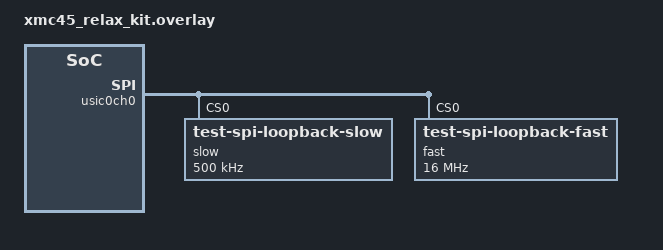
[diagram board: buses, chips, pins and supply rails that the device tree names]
/*
 * Copyright (c) 2022 Schlumberger
 *
 * SPDX-License-Identifier: Apache-2.0
 */

#include <zephyr/dt-bindings/dma/infineon-xmc4xxx-dma.h>

&spi_mosi_p1_5_u0c0 {
	drive-strength = "strong-soft-edge";
	hwctrl = "disabled";
};

&spi_miso_p1_4_u0c0 {
	drive-strength = "strong-soft-edge";
	hwctrl = "disabled";
};

&spi_sclk_p0_8_u0c0 {
	drive-strength = "strong-soft-edge";
	hwctrl = "disabled";
};

&usic0ch0 {
	compatible = "infineon,xmc4xxx-spi";
	pinctrl-0 = <&spi_mosi_p1_5_u0c0 &spi_miso_p1_4_u0c0 &spi_sclk_p0_8_u0c0>;
	pinctrl-names = "default";
	miso-src = "DX0B";
	interrupts = <84 1 85 1>;
	interrupt-names = "tx", "rx";
	dmas = <&dma0 1 0 XMC4XXX_SET_CONFIG(0, 10)>, <&dma0 2 0 XMC4XXX_SET_CONFIG(2, 11)>;
	dma-names = "tx", "rx";

	#address-cells = <1>;
	#size-cells = <0>;
	status = "okay";

	slow@0 {
		compatible = "test-spi-loopback-slow";
		reg = <0>;
		spi-max-frequency = <500000>;
	};
	fast@0 {
		compatible = "test-spi-loopback-fast";
		reg = <0>;
		spi-max-frequency = <16000000>;
	};
};

&dma0 {
	status = "okay";
};
